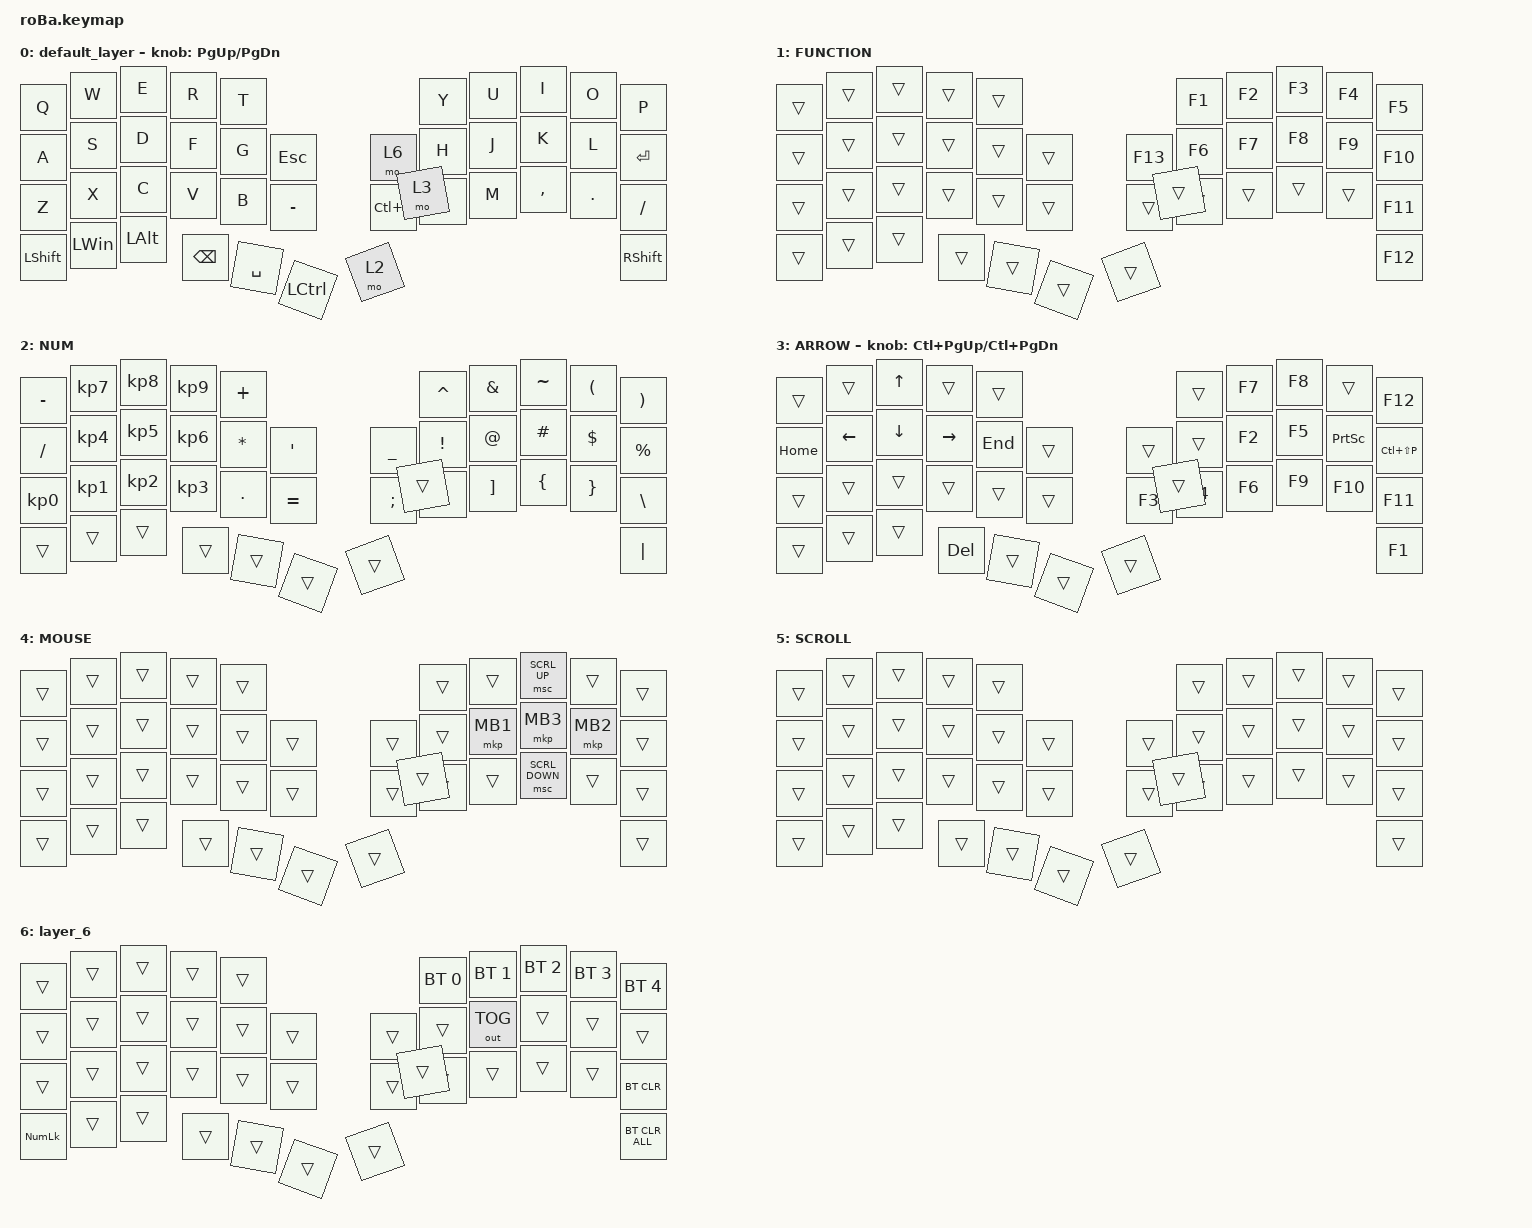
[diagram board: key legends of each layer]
#include <behaviors.dtsi>
#include <dt-bindings/zmk/bt.h>
#include <dt-bindings/zmk/keys.h>
#include <dt-bindings/zmk/outputs.h>
#include <dt-bindings/zmk/pointing.h>

&mt {
    flavor = "balanced";
    quick-tap-ms = <0>;
};

&trackball {
    automouse-layer = <4>;
    scroll-layers = <5>;

    // arrows {
    //     layers = <3>;
    //     bindings =
    //         <&kp RIGHT_ARROW>,
    //         <&kp LEFT_ARROW>,
    //         <&kp UP_ARROW>,
    //         <&kp DOWN_ARROW>;
    //     tick = <10>;
    //     wait-ms = <5>;
    //     tap-ms = <5>;
    // };
};

/ {
    combos {
        compatible = "zmk,combos";

        tab {
            bindings = <&kp TAB>;
            key-positions = <19 20>;
        };

        shift_tab {
            bindings = <&kp LS(TAB)>;
            key-positions = <12 11>;
        };

        muhennkann {
            bindings = <&to_layer_0 INT_MUHENKAN>;
            key-positions = <10 11>;
        };

        double_quotation {
            bindings = <&kp DOUBLE_QUOTES>;
            key-positions = <20 21>;
        };

        eq {
            bindings = <&kp EQUAL>;
            key-positions = <24 25>;
        };

        modoru {
            bindings = <&mkp MB4>;
            key-positions = <40 18>;
        };

        tugini {
            bindings = <&mkp MB5>;
            key-positions = <41 18>;
        };

        winkensaku {
            bindings = <&kp LG(Q)>;
            key-positions = <27 28>;
        };
    };

    macros {
        to_layer_0: to_layer_0 {
            compatible = "zmk,behavior-macro-one-param";
            #binding-cells = <1>;
            bindings = <&to 0 &macro_param_1to1 &kp MACRO_PLACEHOLDER>;
            label = "TO_LAYER_0";
        };
    };

    behaviors {
        lt_to_layer_0: lt_to_layer_0 {
            compatible = "zmk,behavior-hold-tap";
            label = "LAYER_TAP_TO_0";
            bindings = <&mo>, <&to_layer_0>;

            #binding-cells = <2>;
            tapping-term-ms = <200>;
        };
    };

    keymap {
        compatible = "zmk,keymap";

        default_layer {
            bindings = <
&kp Q           &kp W         &kp E         &kp R          &kp T                                           &kp Y  &kp U  &kp I      &kp O    &kp P
&kp A           &kp S         &kp D         &kp F          &kp G      &kp ESC               &mo 6          &kp H  &kp J  &kp K      &kp L    &kp ENTER
&kp Z           &kp X         &kp C         &kp V          &kp B      &kp MINUS             &kp LC(SPACE)  &kp N  &kp M  &kp COMMA  &kp DOT  &kp SLASH
&kp LEFT_SHIFT  &kp LEFT_WIN  &kp LEFT_ALT  &kp BACKSPACE  &kp SPACE  &kp LEFT_CONTROL      &mo 2          &mo 3                             &kp RIGHT_SHIFT
            >;

            sensor-bindings = <&inc_dec_kp PG_UP PAGE_DOWN>;
        };

        FUNCTION {
            bindings = <
&trans  &trans  &trans  &trans  &trans                       &kp F1  &kp F2  &kp F3  &kp F4  &kp F5
&trans  &trans  &trans  &trans  &trans  &trans      &kp F13  &kp F6  &kp F7  &kp F8  &kp F9  &kp F10
&trans  &trans  &trans  &trans  &trans  &trans      &trans   &trans  &trans  &trans  &trans  &kp F11
&trans  &trans  &trans  &trans  &trans  &trans      &trans   &trans                          &kp F12
            >;
        };

        NUM {
            bindings = <
&kp MINUS        &kp KP_NUMBER_7  &kp KP_NUMBER_8  &kp KP_NUMBER_9  &kp PLUS                                     &kp CARET         &kp AMPERSAND      &kp TILDE       &kp LEFT_PARENTHESIS  &kp RIGHT_PARENTHESIS
&kp SLASH        &kp KP_NUMBER_4  &kp KP_NUMBER_5  &kp KP_NUMBER_6  &kp ASTERISK  &kp APOS       &kp UNDERSCORE  &kp EXCLAMATION   &kp AT_SIGN        &kp HASH        &kp DOLLAR            &kp PERCENT
&kp KP_NUMBER_0  &kp KP_NUMBER_1  &kp KP_NUMBER_2  &kp KP_NUMBER_3  &kp PERIOD    &kp EQUAL      &kp SEMICOLON   &kp LEFT_BRACKET  &kp RIGHT_BRACKET  &kp LEFT_BRACE  &kp RIGHT_BRACE       &kp BACKSLASH
&trans           &trans           &trans           &trans           &trans        &trans         &trans          &trans                                                                     &kp PIPE
            >;
        };

        ARROW {
            bindings = <
&trans    &trans          &kp UP_ARROW    &trans           &trans                       &trans  &kp F7  &kp F8  &trans           &kp F12
&kp HOME  &kp LEFT_ARROW  &kp DOWN_ARROW  &kp RIGHT_ARROW  &kp END  &trans      &trans  &trans  &kp F2  &kp F5  &kp PRINTSCREEN  &kp LC(LS(P))
&trans    &trans          &trans          &trans           &trans   &trans      &kp F3  &kp F4  &kp F6  &kp F9  &kp F10          &kp F11
&trans    &trans          &trans          &kp DEL          &trans   &trans      &trans  &trans                                   &kp F1
            >;

            sensor-bindings = <&inc_dec_kp LC(PAGE_UP) LC(PAGE_DOWN)>;
        };

        MOUSE {
            bindings = <
&trans  &trans  &trans  &trans  &trans                      &trans  &trans    &msc SCRL_UP    &trans    &trans
&trans  &trans  &trans  &trans  &trans  &trans      &trans  &trans  &mkp MB1  &mkp MB3        &mkp MB2  &trans
&trans  &trans  &trans  &trans  &trans  &trans      &trans  &trans  &trans    &msc SCRL_DOWN  &trans    &trans
&trans  &trans  &trans  &trans  &trans  &trans      &trans  &trans                                      &trans
            >;
        };

        SCROLL {
            bindings = <
&trans  &trans  &trans  &trans  &trans                      &trans  &trans  &trans  &trans  &trans
&trans  &trans  &trans  &trans  &trans  &trans      &trans  &trans  &trans  &trans  &trans  &trans
&trans  &trans  &trans  &trans  &trans  &trans      &trans  &trans  &trans  &trans  &trans  &trans
&trans  &trans  &trans  &trans  &trans  &trans      &trans  &trans                          &trans
            >;
        };

        layer_6 {
            bindings = <
&trans      &trans  &trans  &trans  &trans                      &bt BT_SEL 0  &bt BT_SEL 1  &bt BT_SEL 2  &bt BT_SEL 3  &bt BT_SEL 4
&trans      &trans  &trans  &trans  &trans  &trans      &trans  &trans        &out OUT_TOG  &trans        &trans        &trans
&trans      &trans  &trans  &trans  &trans  &trans      &trans  &trans        &trans        &trans        &trans        &bt BT_CLR
&kp KP_NUM  &trans  &trans  &trans  &trans  &trans      &trans  &trans                                                  &bt BT_CLR_ALL
            >;
        };
    };
};
